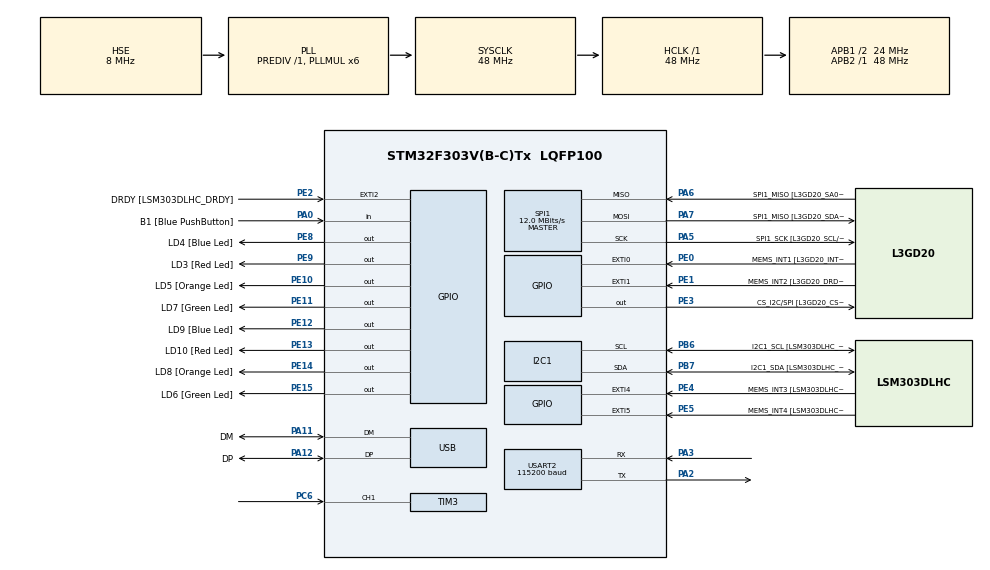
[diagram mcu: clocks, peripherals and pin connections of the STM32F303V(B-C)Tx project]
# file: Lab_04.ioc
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I2C1.Timing=0x00201D2B
I2C1.Timing-I2C=0x2000090E
Mcu.Family=STM32F3
Mcu.Name=STM32F303V(B-C)Tx
Mcu.Package=LQFP100
NVIC.PriorityGroup=NVIC_PRIORITYGROUP_0
NVIC.TIM2_IRQn=true\:0\:0\:false\:false\:true\:true\:true\:true
NVIC.TIM3_IRQn=true\:0\:0\:false\:false\:true\:true\:true\:true
PA0.GPIO_Label=B1 [Blue PushButton]
PA0.Signal=GPIO_Input
PA11.GPIO_Label=DM
PA11.Mode=Device
PA11.Signal=USB_DM
PA12.GPIO_Label=DP
PA12.Mode=Device
PA12.Signal=USB_DP
PA13.GPIO_Label=SWDIO
PA13.Mode=Serial_Wire
PA13.Signal=SYS_JTMS-SWDIO
PA14.GPIO_Label=SWCLK
PA14.Mode=Serial_Wire
PA14.Signal=SYS_JTCK-SWCLK
PA2.Mode=Asynchronous
PA2.Signal=USART2_TX
PA3.Mode=Asynchronous
PA3.Signal=USART2_RX
PA5.GPIO_Label=SPI1_SCK [L3GD20_SCL/SPC]
PA5.Mode=Full_Duplex_Master
PA5.Signal=SPI1_SCK
PA6.GPIO_Label=SPI1_MISO [L3GD20_SA0/SDO]
PA6.Mode=Full_Duplex_Master
PA6.Signal=SPI1_MISO
PA7.GPIO_Label=SPI1_MISO [L3GD20_SDA/SDI/SDO]
PA7.Mode=Full_Duplex_Master
PA7.Signal=SPI1_MOSI
PB3.GPIO_Label=SWO
PB3.Signal=SYS_JTDO-TRACESWO
PB6.GPIO_Label=I2C1_SCL [LSM303DLHC_SCL]
PB6.GPIO_Pu=GPIO_PULLUP
PB6.Mode=I2C
PB6.Signal=I2C1_SCL
PB7.GPIO_Label=I2C1_SDA [LSM303DLHC_SDA]
PB7.GPIO_Pu=GPIO_PULLUP
PB7.Mode=I2C
PB7.Signal=I2C1_SDA
PC14-OSC32_IN.GPIO_Label=OSC32_IN
PC14-OSC32_IN.Signal=RCC_OSC32_IN
PC15-OSC32_OUT.GPIO_Label=OSC32_OUT
PC15-OSC32_OUT.Signal=RCC_OSC32_OUT
PC6.Signal=S_TIM3_CH1
PE0.GPIO_Label=MEMS_INT1 [L3GD20_INT1]
PE0.GPIO_ModeDefaultEXTI=GPIO_MODE_EVT_RISING
PE0.Signal=GPXTI0
PE1.GPIO_Label=MEMS_INT2 [L3GD20_DRDY/INT2]
PE1.GPIO_ModeDefaultEXTI=GPIO_MODE_EVT_RISING
PE1.Signal=GPXTI1
PE10.GPIO_Label=LD5 [Orange Led]
PE10.Signal=GPIO_Output
PE11.GPIO_Label=LD7 [Green Led]
PE11.Signal=GPIO_Output
PE12.GPIO_Label=LD9 [Blue Led]
PE12.Signal=GPIO_Output
PE13.GPIO_Label=LD10 [Red Led]
PE13.Signal=GPIO_Output
PE14.GPIO_Label=LD8 [Orange Led]
PE14.Signal=GPIO_Output
PE15.GPIO_Label=LD6 [Green Led]
PE15.Signal=GPIO_Output
PE2.GPIO_Label=DRDY [LSM303DLHC_DRDY]
PE2.GPIO_ModeDefaultEXTI=GPIO_MODE_EVT_RISING
PE2.Signal=GPXTI2
PE3.GPIO_Label=CS_I2C/SPI [L3GD20_CS_I2C/SPI]
PE3.Signal=GPIO_Output
PE4.GPIO_Label=MEMS_INT3 [LSM303DLHC_INT1]
PE4.GPIO_ModeDefaultEXTI=GPIO_MODE_EVT_RISING
PE4.Signal=GPXTI4
PE5.GPIO_Label=MEMS_INT4 [LSM303DLHC_INT2]
PE5.GPIO_ModeDefaultEXTI=GPIO_MODE_EVT_RISING
PE5.Signal=GPXTI5
PE8.GPIO_Label=LD4 [Blue Led]
PE8.Signal=GPIO_Output
PE9.GPIO_Label=LD3 [Red Led]
PE9.Signal=GPIO_Output
PF0-OSC_IN.GPIO_Label=OSC_IN
PF0-OSC_IN.Mode=HSE-External-Clock-Source
PF0-OSC_IN.Signal=RCC_OSC_IN
PF1-OSC_OUT.GPIO_Label=OSC_OUT
PF1-OSC_OUT.Signal=RCC_OSC_OUT
ProjectManager.HeapSize=0x200
ProjectManager.StackSize=0x400
ProjectManager.TargetToolchain=CMake
RCC.AHBFreq_Value=48000000
RCC.APB1CLKDivider=RCC_HCLK_DIV2
RCC.APB1Freq_Value=24000000
RCC.APB1TimFreq_Value=48000000
RCC.APB2Freq_Value=48000000
RCC.APB2TimFreq_Value=48000000
RCC.CortexFreq_Value=48000000
RCC.HCLKFreq_Value=48000000
RCC.HSE_VALUE=8000000
RCC.HSI_VALUE=8000000
RCC.LSE_VALUE=32768
RCC.PLLMUL=RCC_PLL_MUL6
RCC.SYSCLKFreq_VALUE=48000000
RCC.SYSCLKSourceVirtual=RCC_SYSCLKSOURCE_PLLCLK
RCC.USBFreq_Value=48000000
SH.S_TIM3_CH1.0=TIM3_CH1,Input_Capture1_from_TI1
SPI1.BaudRatePrescaler=SPI_BAUDRATEPRESCALER_4
SPI1.BaudRatePrescaler-Full_Duplex_Master=SPI_BAUDRATEPRESCALER_2
SPI1.CalculateBaudRate=12.0 MBits/s
SPI1.CalculateBaudRate-Full_Duplex_Master=24.0 MBits/s
SPI1.Direction=SPI_DIRECTION_2LINES
SPI1.Mode=SPI_MODE_MASTER
SPI1.Mode-Full_Duplex_Master=SPI_MODE_MASTER
SPI1.VirtualType=VM_MASTER
TIM2.Period=999
TIM2.Prescaler=47
TIM3.Channel-Input_Capture1_from_TI1=TIM_CHANNEL_1
USART2.BaudRate=115200
USART2.VirtualMode-Asynchronous=VM_ASYNC
VP_TIM2_VS_ClockSourceINT.Mode=Internal
board=STM32F3DISCOVERY

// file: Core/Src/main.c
/* USER CODE BEGIN Header */
/**
  ******************************************************************************
  * @file           : main.c
  * @brief          : Main program body
  ******************************************************************************
  * @attention
  *
  * Copyright (c) 2026 STMicroelectronics. All rights reserved.
  * This software is licensed under terms in LICENSE file.
  *
  ******************************************************************************
  */
/* USER CODE END Header */
#include "main.h"

/* USER CODE BEGIN Includes */
#include <stdio.h>
#include <string.h>

/* NOTE: For floating-point formatting in sprintf (%.2f):
 * Navigate to: Project Properties -> C/C++ Build -> Settings -> MCU Settings
 * Enable: "Use float with printf from newlib-nano"
 * Code size will increase approximately 8KB
 *
 * Alternative approach: Integer-based conversion (implemented in this code)
 *
 * INPUT CAPTURE NOISE REDUCTION:
 * To minimize signal noise:
 * 1. Configure TIM3 CH1 Input Capture Filter (CubeMX): Set to 8 or 15
 * 2. Filters glitches lasting less than N timer cycles
 * 3. Hardware option: Add 100nF capacitor to input pin
 */
/* USER CODE END Includes */

I2C_HandleTypeDef hi2c1;

SPI_HandleTypeDef hspi1;

TIM_HandleTypeDef htim2;
TIM_HandleTypeDef htim3;

UART_HandleTypeDef huart2;

PCD_HandleTypeDef hpcd_USB_FS;

/* USER CODE BEGIN PV */
/* -------------------- TASK 3: LED Blinking at Multiple Frequencies -------------------- */
// uint16_t led_counter_red = 0;     // LED1 (Red, PE9)
// uint16_t led_counter_green = 0;   // LED2 (Green, PE10)
// uint16_t led_counter_blue = 0;    // LED3 (Blue, PE11)

// #define LED_RED_PERIOD 500     // 1 Hz → 500 ms toggle interval
// #define LED_GREEN_PERIOD 200   // 2.5 Hz → 200 ms toggle interval
// #define LED_BLUE_PERIOD 100    // 5 Hz → 100 ms toggle interval
/* -------------------------------------------------------------------------- */

/* -------------------- TASK 4: Input Signal Frequency Analyzer -------------------- */
uint32_t previous_edge_time = 0;
uint32_t signal_period_ticks = 0;
float measured_freq = 0.0;
uint8_t timer_overflow_cnt = 0;
uint8_t freq_data_ready = 0;
uint8_t sample_counter = 0;  // Reduces UART transmission frequency

// Timer frequency calculation:
// APB1 base clock = 24 MHz, timer clock = APB1 × 2 = 48 MHz (APB prescaler multiplier)
// TIM3 Prescaler setting = 1 (from CubeMX), actual divider = Prescaler + 1 = 2
// Final Timer Clock = 48 MHz / 2 = 24 MHz
#define TIM_BASE_CLOCK 48000000  // Timer base frequency (pre-prescaler)
#define TIM3_PSC_VALUE 1         // Prescaler configuration (from CubeMX)

char serial_tx_buffer[100];
/* -------------------------------------------------------------------------- */

/* USER CODE END PV */

void SystemClock_Config(void);
static void MX_GPIO_Init(void);
static void MX_I2C1_Init(void);
static void MX_SPI1_Init(void);
static void MX_TIM2_Init(void);
static void MX_USB_PCD_Init(void);
static void MX_TIM3_Init(void);
static void MX_USART2_UART_Init(void);

/* USER CODE BEGIN 0 */

/* -------------------- TASK 1: Millisecond Delay Implementation -----------------------------
void custom_delay_ms(uint32_t milliseconds){
    __HAL_TIM_SET_COUNTER(&htim2, 0);
    HAL_TIM_Base_Start(&htim2);
    while (__HAL_TIM_GET_COUNTER(&htim2) < milliseconds);
    HAL_TIM_Base_Stop(&htim2);
}
---------------------------------------------------------------------------*/

/* -------------------- TASK 2: LED Toggle Using Timer Interrupt---------------------
void HAL_TIM_PeriodElapsedCallback(TIM_HandleTypeDef *htim)
{
    if(htim->Instance == TIM2)
    {
        HAL_GPIO_TogglePin(GPIOE, GPIO_PIN_9); // Toggle red LED
    }
}
---------------------------------------------------------------------------*/

/* -------------------- TASK 3: Multi-Rate LED Controller------------- */
// void HAL_TIM_PeriodElapsedCallback(TIM_HandleTypeDef *htim)
// {
//     if(htim->Instance == TIM2)
//     {
//         // Update all LED counters
//         led_counter_red++;
//         led_counter_green++;
//         led_counter_blue++;

//         // Control LED1: PE9 (Red LED)
//         if(led_counter_red >= LED_RED_PERIOD)
//         {
//             HAL_GPIO_TogglePin(GPIOE, GPIO_PIN_9);
//             led_counter_red = 0;
//         }

//         // Control LED2: PE10 (Green LED)
//         if(led_counter_green >= LED_GREEN_PERIOD)
//         {
//             HAL_GPIO_TogglePin(GPIOE, GPIO_PIN_10);
//             led_counter_green = 0;
//         }

//         // Control LED3: PE11 (Blue LED)
//         if(led_counter_blue >= LED_BLUE_PERIOD)
//         {
//             HAL_GPIO_TogglePin(GPIOE, GPIO_PIN_11);
//             led_counter_blue = 0;
//         }
//     }
// }
/* -------------------------------------------------------------------------- */

/* -------------------------------TASK 4: Signal Frequency Measurement Module--------------------------------------- */

/**
  * @brief  Callback handler for input capture events
  * @param  htim: Pointer to timer handle structure
  * @retval None
  */
void HAL_TIM_IC_CaptureCallback(TIM_HandleTypeDef *htim)
{
    if(htim->Instance == TIM3)
    {
        if(htim->Channel == HAL_TIM_ACTIVE_CHANNEL_1)
        {
            // Retrieve current capture timestamp
            uint32_t current_edge_time = HAL_TIM_ReadCapturedValue(htim, TIM_CHANNEL_1);

            // Compute period accounting for counter overflow
            if(current_edge_time >= previous_edge_time)
            {
                signal_period_ticks = current_edge_time - previous_edge_time;
            }
            else
            {
                // Counter wrapped around
                signal_period_ticks = (0xFFFF - previous_edge_time) + current_edge_time + 1;
            }

            // Store timestamp for next calculation
            previous_edge_time = current_edge_time;

            // Compute frequency from period
            // Formula: Frequency = Timer_Clock / [(Prescaler + 1) × Period]
            if(signal_period_ticks > 0)
            {
                measured_freq = (float)TIM_BASE_CLOCK / ((float)(TIM3_PSC_VALUE + 1) * (float)signal_period_ticks);
                freq_data_ready = 1;
            }

            // Clear overflow counter
            timer_overflow_cnt = 0;
        }
    }
}

/**
  * @brief  Callback for timer overflow - detects absent or very low frequency signals
  * @param  htim: Pointer to timer handle structure
  * @retval None
  */
void HAL_TIM_PeriodElapsedCallback(TIM_HandleTypeDef *htim)
{
    if(htim->Instance == TIM3)
    {
        timer_overflow_cnt++;

        // Signal absent or frequency too low if excessive overflows occur
        if(timer_overflow_cnt > 10)
        {
            measured_freq = 0.0;
            signal_period_ticks = 0;
            freq_data_ready = 0;
        }
    }
}

/* -------------------------------------------------------------------------- */

/* USER CODE END 0 */

int main(void)
{

  /* MCU Configuration--------------------------------------------------------*/

  /* Reset of all peripherals, Initializes the Flash interface and the Systick. */
  HAL_Init();

  /* Configure the system clock */
  SystemClock_Config();

  /* Initialize all configured peripherals */
  MX_GPIO_Init();
  MX_I2C1_Init();
  MX_SPI1_Init();
  MX_TIM2_Init();
  MX_USB_PCD_Init();
  MX_TIM3_Init();
  MX_USART2_UART_Init();
  /* USER CODE BEGIN 2 */

  /* -------------------- TASK 4: Initialize Frequency Measurement System -------------------- */
  // Activate TIM3 input capture with interrupts enabled
  HAL_TIM_IC_Start_IT(&htim3, TIM_CHANNEL_1);

  // Enable timer base interrupt for overflow monitoring
  HAL_TIM_Base_Start_IT(&htim3);

  // Transmit startup message over UART
  sprintf(serial_tx_buffer, "Frequency Measurement Started\r\n");
  HAL_UART_Transmit(&huart2, (uint8_t*)serial_tx_buffer, strlen(serial_tx_buffer), HAL_MAX_DELAY);
  /* -------------------------------------------------------------------------- */

  /* USER CODE END 2 */

  /* Infinite loop */
  while (1)
  {

    /* USER CODE BEGIN 3 */

    /* -------------------- TASK 4: Frequency Data Reporting Module -------------------- */
    if(freq_data_ready)
    {
        sample_counter++;

        // Reduce transmission rate at high frequencies to prevent blocking
        // Configurable interval: 1 = every measurement, 10 = every 10th measurement
        uint8_t tx_rate_divider = 1;

        // Adaptive rate control based on frequency range
        if(measured_freq > 100000) {
            tx_rate_divider = 100;  // Above 100kHz: transmit every 100th sample
        } else if(measured_freq > 10000) {
            tx_rate_divider = 10;   // Above 10kHz: transmit every 10th sample
        }

        if(sample_counter >= tx_rate_divider)
        {
            sample_counter = 0;

            // Split frequency into integer and fractional components
            uint32_t freq_whole = (uint32_t)measured_freq;
            uint32_t freq_fraction = (uint32_t)((measured_freq - freq_whole) * 100);

            // Transmit measurement data over UART
            sprintf(serial_tx_buffer, "Period: %lu ticks, Frequency: %lu.%02lu Hz\r\n",
                    signal_period_ticks, freq_whole, freq_fraction);
            HAL_UART_Transmit(&huart2, (uint8_t*)serial_tx_buffer, strlen(serial_tx_buffer), HAL_MAX_DELAY);

            // Visual indication via LED toggle
            HAL_GPIO_TogglePin(GPIOE, GPIO_PIN_9);  // Toggle red LED
        }

        // Clear ready flag after processing
        freq_data_ready = 0;
    }

    // Continuous monitoring - no delay required
    /* -------------------------------------------------------------------------- */
  }
  /* USER CODE END 3 */
}

void SystemClock_Config(void)
{
  RCC_OscInitTypeDef RCC_OscInitStruct = {0};
  RCC_ClkInitTypeDef RCC_ClkInitStruct = {0};
  RCC_PeriphCLKInitTypeDef PeriphClkInit = {0};

  /** Initializes the RCC Oscillators according to the specified parameters
  * in the RCC_OscInitTypeDef structure.
  */
  RCC_OscInitStruct.OscillatorType = RCC_OSCILLATORTYPE_HSI|RCC_OSCILLATORTYPE_HSE;
  RCC_OscInitStruct.HSEState = RCC_HSE_BYPASS;
  RCC_OscInitStruct.HSEPredivValue = RCC_HSE_PREDIV_DIV1;
  RCC_OscInitStruct.HSIState = RCC_HSI_ON;
  RCC_OscInitStruct.HSICalibrationValue = RCC_HSICALIBRATION_DEFAULT;
  RCC_OscInitStruct.PLL.PLLState = RCC_PLL_ON;
  RCC_OscInitStruct.PLL.PLLSource = RCC_PLLSOURCE_HSE;
  RCC_OscInitStruct.PLL.PLLMUL = RCC_PLL_MUL6;
  if (HAL_RCC_OscConfig(&RCC_OscInitStruct) != HAL_OK)
  {
    Error_Handler();
  }

  /** Initializes the CPU, AHB and APB buses clocks
  */
  RCC_ClkInitStruct.ClockType = RCC_CLOCKTYPE_HCLK|RCC_CLOCKTYPE_SYSCLK
                              |RCC_CLOCKTYPE_PCLK1|RCC_CLOCKTYPE_PCLK2;
  RCC_ClkInitStruct.SYSCLKSource = RCC_SYSCLKSOURCE_PLLCLK;
  RCC_ClkInitStruct.AHBCLKDivider = RCC_SYSCLK_DIV1;
  RCC_ClkInitStruct.APB1CLKDivider = RCC_HCLK_DIV2;
  RCC_ClkInitStruct.APB2CLKDivider = RCC_HCLK_DIV1;

  if (HAL_RCC_ClockConfig(&RCC_ClkInitStruct, FLASH_LATENCY_1) != HAL_OK)
  {
    Error_Handler();
  }
  PeriphClkInit.PeriphClockSelection = RCC_PERIPHCLK_USB|RCC_PERIPHCLK_USART2
                              |RCC_PERIPHCLK_I2C1;
  PeriphClkInit.Usart2ClockSelection = RCC_USART2CLKSOURCE_PCLK1;
  PeriphClkInit.I2c1ClockSelection = RCC_I2C1CLKSOURCE_HSI;
  PeriphClkInit.USBClockSelection = RCC_USBCLKSOURCE_PLL;
  if (HAL_RCCEx_PeriphCLKConfig(&PeriphClkInit) != HAL_OK)
  {
    Error_Handler();
  }
}

static void MX_I2C1_Init(void)
{

  hi2c1.Instance = I2C1;
  hi2c1.Init.Timing = 0x00201D2B;
  hi2c1.Init.OwnAddress1 = 0;
  hi2c1.Init.AddressingMode = I2C_ADDRESSINGMODE_7BIT;
  hi2c1.Init.DualAddressMode = I2C_DUALADDRESS_DISABLE;
  hi2c1.Init.OwnAddress2 = 0;
  hi2c1.Init.OwnAddress2Masks = I2C_OA2_NOMASK;
  hi2c1.Init.GeneralCallMode = I2C_GENERALCALL_DISABLE;
  hi2c1.Init.NoStretchMode = I2C_NOSTRETCH_DISABLE;
  if (HAL_I2C_Init(&hi2c1) != HAL_OK)
  {
    Error_Handler();
  }

  /** Configure Analogue filter
  */
  if (HAL_I2CEx_ConfigAnalogFilter(&hi2c1, I2C_ANALOGFILTER_ENABLE) != HAL_OK)
  {
    Error_Handler();
  }

  /** Configure Digital filter
  */
  if (HAL_I2CEx_ConfigDigitalFilter(&hi2c1, 0) != HAL_OK)
  {
    Error_Handler();
  }

}

static void MX_SPI1_Init(void)
{

  /* SPI1 parameter configuration*/
  hspi1.Instance = SPI1;
  hspi1.Init.Mode = SPI_MODE_MASTER;
  hspi1.Init.Direction = SPI_DIRECTION_2LINES;
  hspi1.Init.DataSize = SPI_DATASIZE_4BIT;
  hspi1.Init.CLKPolarity = SPI_POLARITY_LOW;
  hspi1.Init.CLKPhase = SPI_PHASE_1EDGE;
  hspi1.Init.NSS = SPI_NSS_SOFT;
  hspi1.Init.BaudRatePrescaler = SPI_BAUDRATEPRESCALER_4;
  hspi1.Init.FirstBit = SPI_FIRSTBIT_MSB;
  hspi1.Init.TIMode = SPI_TIMODE_DISABLE;
  hspi1.Init.CRCCalculation = SPI_CRCCALCULATION_DISABLE;
  hspi1.Init.CRCPolynomial = 7;
  hspi1.Init.CRCLength = SPI_CRC_LENGTH_DATASIZE;
  hspi1.Init.NSSPMode = SPI_NSS_PULSE_ENABLE;
  if (HAL_SPI_Init(&hspi1) != HAL_OK)
  {
    Error_Handler();
  }

}

static void MX_TIM2_Init(void)
{

  TIM_ClockConfigTypeDef sClockSourceConfig = {0};
  TIM_MasterConfigTypeDef sMasterConfig = {0};

  htim2.Instance = TIM2;
  htim2.Init.Prescaler = 47999;
  htim2.Init.CounterMode = TIM_COUNTERMODE_UP;
  htim2.Init.Period = 0;
  htim2.Init.ClockDivision = TIM_CLOCKDIVISION_DIV1;
  htim2.Init.AutoReloadPreload = TIM_AUTORELOAD_PRELOAD_DISABLE;
  if (HAL_TIM_Base_Init(&htim2) != HAL_OK)
  {
    Error_Handler();
  }
  sClockSourceConfig.ClockSource = TIM_CLOCKSOURCE_INTERNAL;
  if (HAL_TIM_ConfigClockSource(&htim2, &sClockSourceConfig) != HAL_OK)
  {
    Error_Handler();
  }
  sMasterConfig.MasterOutputTrigger = TIM_TRGO_RESET;
  sMasterConfig.MasterSlaveMode = TIM_MASTERSLAVEMODE_DISABLE;
  if (HAL_TIMEx_MasterConfigSynchronization(&htim2, &sMasterConfig) != HAL_OK)
  {
    Error_Handler();
  }

}

static void MX_TIM3_Init(void)
{

  TIM_MasterConfigTypeDef sMasterConfig = {0};
  TIM_IC_InitTypeDef sConfigIC = {0};

  htim3.Instance = TIM3;
  htim3.Init.Prescaler = 1;  // Prescaler set to 1 for wider measurement range
  htim3.Init.CounterMode = TIM_COUNTERMODE_UP;
  htim3.Init.Period = 0xFFFF;
  htim3.Init.ClockDivision = TIM_CLOCKDIVISION_DIV1;
  htim3.Init.AutoReloadPreload = TIM_AUTORELOAD_PRELOAD_DISABLE;
  if (HAL_TIM_IC_Init(&htim3) != HAL_OK)
  {
    Error_Handler();
  }
  sMasterConfig.MasterOutputTrigger = TIM_TRGO_RESET;
  sMasterConfig.MasterSlaveMode = TIM_MASTERSLAVEMODE_DISABLE;
  if (HAL_TIMEx_MasterConfigSynchronization(&htim3, &sMasterConfig) != HAL_OK)
  {
    Error_Handler();
  }
  sConfigIC.ICPolarity = TIM_INPUTCHANNELPOLARITY_RISING;
  sConfigIC.ICSelection = TIM_ICSELECTION_DIRECTTI;
  sConfigIC.ICPrescaler = TIM_ICPSC_DIV1;
  sConfigIC.ICFilter = 0;
  if (HAL_TIM_IC_ConfigChannel(&htim3, &sConfigIC, TIM_CHANNEL_1) != HAL_OK)
  {
    Error_Handler();
  }

}

static void MX_USART2_UART_Init(void)
{

  huart2.Instance = USART2;
  huart2.Init.BaudRate = 115200;
  huart2.Init.WordLength = UART_WORDLENGTH_8B;
  huart2.Init.StopBits = UART_STOPBITS_1;
  huart2.Init.Parity = UART_PARITY_NONE;
  huart2.Init.Mode = UART_MODE_TX_RX;
  huart2.Init.HwFlowCtl = UART_HWCONTROL_NONE;
  huart2.Init.OverSampling = UART_OVERSAMPLING_16;
  huart2.Init.OneBitSampling = UART_ONE_BIT_SAMPLE_DISABLE;
  huart2.AdvancedInit.AdvFeatureInit = UART_ADVFEATURE_NO_INIT;
  if (HAL_UART_Init(&huart2) != HAL_OK)
  {
    Error_Handler();
  }

}

static void MX_USB_PCD_Init(void)
{

  hpcd_USB_FS.Instance = USB;
  hpcd_USB_FS.Init.dev_endpoints = 8;
  hpcd_USB_FS.Init.speed = PCD_SPEED_FULL;
  hpcd_USB_FS.Init.phy_itface = PCD_PHY_EMBEDDED;
  hpcd_USB_FS.Init.low_power_enable = DISABLE;
  hpcd_USB_FS.Init.battery_charging_enable = DISABLE;
  if (HAL_PCD_Init(&hpcd_USB_FS) != HAL_OK)
  {
    Error_Handler();
  }

}

static void MX_GPIO_Init(void)
{
  GPIO_InitTypeDef GPIO_InitStruct = {0};

  /* GPIO Ports Clock Enable */
  __HAL_RCC_GPIOE_CLK_ENABLE();
  __HAL_RCC_GPIOC_CLK_ENABLE();
  __HAL_RCC_GPIOF_CLK_ENABLE();
  __HAL_RCC_GPIOA_CLK_ENABLE();
  __HAL_RCC_GPIOB_CLK_ENABLE();

  /*Configure GPIO pin Output Level */
  HAL_GPIO_WritePin(GPIOE, CS_I2C_SPI_Pin|LD4_Pin|LD3_Pin|LD5_Pin
                          |LD7_Pin|LD9_Pin|LD10_Pin|LD8_Pin
                          |LD6_Pin, GPIO_PIN_RESET);

  /*Configure GPIO pins : DRDY_Pin MEMS_INT3_Pin MEMS_INT4_Pin MEMS_INT1_Pin
                           MEMS_INT2_Pin */
  GPIO_InitStruct.Pin = DRDY_Pin|MEMS_INT3_Pin|MEMS_INT4_Pin|MEMS_INT1_Pin
                          |MEMS_INT2_Pin;
  GPIO_InitStruct.Mode = GPIO_MODE_EVT_RISING;
  GPIO_InitStruct.Pull = GPIO_NOPULL;
  HAL_GPIO_Init(GPIOE, &GPIO_InitStruct);

  /*Configure GPIO pins : CS_I2C_SPI_Pin LD4_Pin LD3_Pin LD5_Pin
                           LD7_Pin LD9_Pin LD10_Pin LD8_Pin
                           LD6_Pin */
  GPIO_InitStruct.Pin = CS_I2C_SPI_Pin|LD4_Pin|LD3_Pin|LD5_Pin
                          |LD7_Pin|LD9_Pin|LD10_Pin|LD8_Pin
                          |LD6_Pin;
  GPIO_InitStruct.Mode = GPIO_MODE_OUTPUT_PP;
  GPIO_InitStruct.Pull = GPIO_NOPULL;
  GPIO_InitStruct.Speed = GPIO_SPEED_FREQ_LOW;
  HAL_GPIO_Init(GPIOE, &GPIO_InitStruct);

  /*Configure GPIO pin : B1_Pin */
  GPIO_InitStruct.Pin = B1_Pin;
  GPIO_InitStruct.Mode = GPIO_MODE_INPUT;
  GPIO_InitStruct.Pull = GPIO_NOPULL;
  HAL_GPIO_Init(B1_GPIO_Port, &GPIO_InitStruct);

}

void Error_Handler(void)
{
  __disable_irq();
  while (1)
  {
  }
}
